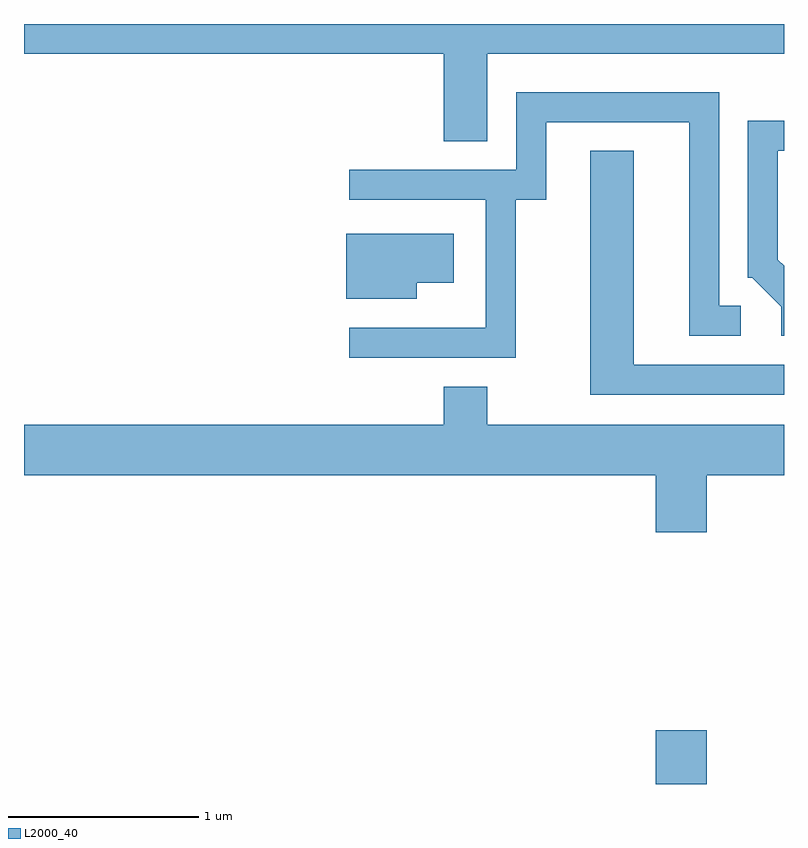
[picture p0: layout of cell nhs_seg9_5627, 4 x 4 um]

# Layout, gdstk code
import gdstk
lib = gdstk.Library(unit=1e-6, precision=1e-09)
def R(c, l, rs):  # rectangles x0, y0, x1, y1
    for r in rs: c.add(gdstk.rectangle(r[:2], r[2:], *l))
def P(c, l, *ps):  # polygons
    for p in ps: c.add(gdstk.Polygon(p, *l))
L2000_40 = (2000, 40)

nhs_seg9_5627 = lib.new_cell('nhs_seg9_5627')
R(nhs_seg9_5627, L2000_40, [(354.936,1972.432,355.204,1972.714)])
P(nhs_seg9_5627, L2000_40, [(351.611,1976.276),(353.821,1976.276),(353.821,1975.816),(354.049,1975.816),(354.049,1976.276),(355.611,1976.276),(355.611,1976.432),(351.611,1976.432)],
  [(354.199,1975.506),(354.359,1975.506),(354.359,1975.916),(355.111,1975.916),(355.111,1974.791),(355.383,1974.791),(355.383,1974.949),(355.269,1974.949),(355.269,1976.074),(354.201,1976.074),(354.201,1975.664),(353.323,1975.664),(353.323,1975.506),(354.041,1975.506),(354.041,1974.834),(353.323,1974.834),(353.323,1974.676),(354.199,1974.676)],
  [(355.611,1975.16),(355.579,1975.192),(355.579,1975.766),(355.611,1975.766),(355.611,1975.924),(355.421,1975.924),(355.421,1975.096),(355.444,1975.096),(355.596,1974.944),(355.596,1974.791),(355.611,1974.791)],
  [(355.611,1974.639),(354.819,1974.639),(354.819,1975.764),(354.591,1975.764),(354.591,1974.481),(355.611,1974.481)],
  [(353.679,1975.071),(353.874,1975.071),(353.874,1975.329),(353.306,1975.329),(353.306,1974.986),(353.679,1974.986)],
  [(355.204,1974.056),(355.611,1974.056),(355.611,1974.324),(354.049,1974.324),(354.049,1974.524),(353.821,1974.524),(353.821,1974.324),(351.611,1974.324),(351.611,1974.056),(354.936,1974.056),(354.936,1973.756),(355.204,1973.756)])

lib.write_gds('nhs_seg9_5627.gds')
